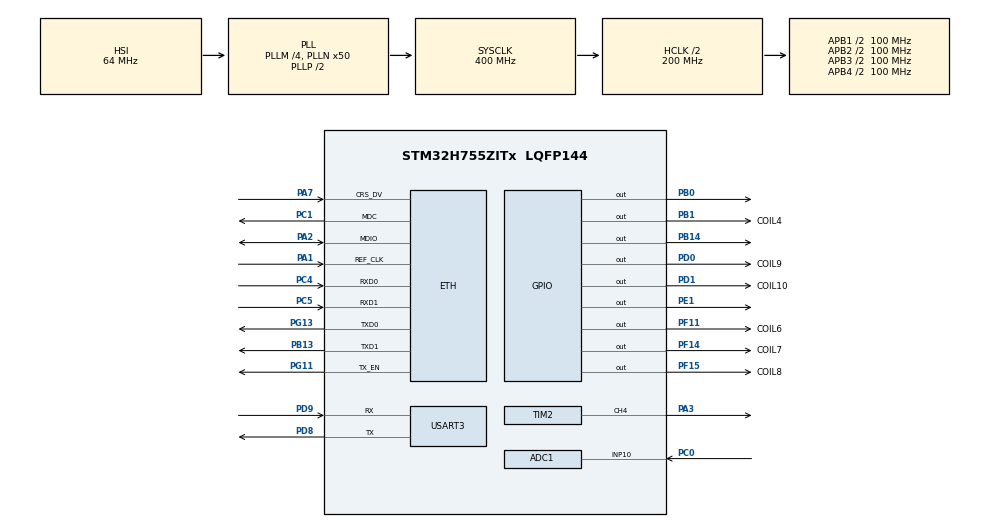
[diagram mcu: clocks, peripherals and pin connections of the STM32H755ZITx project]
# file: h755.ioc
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ADC1.Channel-0\#ChannelRegularConversion=ADC_CHANNEL_10
ADC1.NbrOfConversionFlag=1
ADC1.OffsetNumber-0\#ChannelRegularConversion=ADC_OFFSET_NONE
ADC1.OffsetSignedSaturation-0\#ChannelRegularConversion=DISABLE
ADC1.Rank-0\#ChannelRegularConversion=1
ADC1.SamplingTime-0\#ChannelRegularConversion=ADC_SAMPLETIME_810CYCLES_5
ADC1.master=1
CortexM4.IPs=BDMA,CORTEX_M4\:I,DEBUG,DMA,FATFS_M4\:I,FREERTOS_M4\:I,GPIO,IWDG2\:I,MDMA,NVIC2\:I,OPENAMP_M4\:I,PDM2PCM_M4\:I,PWR,RCC,RESMGR_UTILITY,SYS_M4\:I,USB_DEVICE_M4\:I,USB_HOST_M4\:I,VREFBUF,WWDG2\:I
CortexM7.IPs=BDMA\:I,CORTEX_M7\:I,DEBUG\:I,DMA\:I,FATFS_M7\:I,FREERTOS_M7\:I,GPIO\:I,IWDG1\:I,MDMA\:I,NVIC1\:I,OPENAMP_M7\:I,PDM2PCM_M7\:I,PWR\:I,RCC\:I,RESMGR_UTILITY\:I,SYS\:I,USB_DEVICE_M7\:I,USB_HOST_M7\:I,VREFBUF\:I,WWDG1\:I,ETH\:I,USART3\:I,RNG\:I,ADC1\:I,TIM2\:I
CortexM7.Pins=PB1,PF11,PF14,PF15,PD0,PD1
ETH.MediaInterface=HAL_ETH_RMII_MODE
Mcu.Family=STM32H7
Mcu.Name=STM32H755ZITx
Mcu.Package=LQFP144
NVIC1.ETH_IRQn=true\:0\:0\:false\:false\:false\:true\:false\:true
NVIC1.PriorityGroup=NVIC_PRIORITYGROUP_4
NVIC2.PriorityGroup=NVIC_PRIORITYGROUP_4
PA1.Mode=RMII
PA1.PinAttribute=CortexM7
PA1.Signal=ETH_REF_CLK
PA2.Mode=RMII
PA2.PinAttribute=CortexM7
PA2.Signal=ETH_MDIO
PA3.PinAttribute=CortexM7
PA3.Signal=S_TIM2_CH4
PA7.Mode=RMII
PA7.PinAttribute=CortexM7
PA7.Signal=ETH_CRS_DV
PB0.PinAttribute=Free
PB0.Signal=GPIO_Output
PB1.GPIO_Label=COIL4
PB1.PinAttribute=CortexM7
PB1.Signal=GPIO_Output
PB13.Mode=RMII
PB13.PinAttribute=CortexM7
PB13.Signal=ETH_TXD1
PB14.PinAttribute=Free
PB14.Signal=GPIO_Output
PC0.PinAttribute=CortexM7
PC0.Signal=ADCx_INP10
PC1.Mode=RMII
PC1.PinAttribute=CortexM7
PC1.Signal=ETH_MDC
PC4.Mode=RMII
PC4.PinAttribute=CortexM7
PC4.Signal=ETH_RXD0
PC5.Mode=RMII
PC5.PinAttribute=CortexM7
PC5.Signal=ETH_RXD1
PD0.GPIO_Label=COIL9
PD0.PinAttribute=CortexM7
PD0.Signal=GPIO_Output
PD1.GPIO_Label=COIL10
PD1.PinAttribute=CortexM7
PD1.Signal=GPIO_Output
PD8.Mode=Asynchronous
PD8.PinAttribute=CortexM7
PD8.Signal=USART3_TX
PD9.Mode=Asynchronous
PD9.PinAttribute=CortexM7
PD9.Signal=USART3_RX
PE1.PinAttribute=Free
PE1.Signal=GPIO_Output
PF11.GPIO_Label=COIL6
PF11.PinAttribute=CortexM7
PF11.Signal=GPIO_Output
PF14.GPIO_Label=COIL7
PF14.PinAttribute=CortexM7
PF14.Signal=GPIO_Output
PF15.GPIO_Label=COIL8
PF15.PinAttribute=CortexM7
PF15.Signal=GPIO_Output
PG11.Mode=RMII
PG11.PinAttribute=CortexM7
PG11.Signal=ETH_TX_EN
PG13.Mode=RMII
PG13.PinAttribute=CortexM7
PG13.Signal=ETH_TXD0
ProjectManager.HeapSize=M4-0x200,M7-0x200
ProjectManager.StackSize=M4-0x400,M7-0x400
ProjectManager.TargetToolchain=STM32CubeIDE
RCC.ADCCLockSelection=RCC_ADCCLKSOURCE_CLKP
RCC.ADCFreq_Value=64000000
RCC.APB1Freq_Value=100000000
RCC.APB2Freq_Value=100000000
RCC.APB3Freq_Value=100000000
RCC.APB4Freq_Value=100000000
RCC.CortexFreq_Value=400000000
RCC.D1PPRE=RCC_APB3_DIV2
RCC.D2PPRE1=RCC_APB1_DIV2
RCC.D2PPRE2=RCC_APB2_DIV2
RCC.D3PPRE=RCC_APB4_DIV2
RCC.DIVM1=4
RCC.DIVN1=50
RCC.HCLKFreq_Value=200000000
RCC.HPRE=RCC_HCLK_DIV2
RCC.PLL2FRACN=0
RCC.PLL3FRACN=0
RCC.PLLFRACN=0
RCC.SYSCLKFreq_VALUE=400000000
RCC.SYSCLKSource=RCC_SYSCLKSOURCE_PLLCLK
RCC.USBFreq_Value=400000000
SH.ADCx_INP10.0=ADC1_INP10,IN10-Single-Ended
SH.S_TIM2_CH4.0=TIM2_CH4,PWM Generation4 CH4
SYS.userName=SYS_M7
TIM2.Channel-PWM\ Generation4\ CH4=TIM_CHANNEL_4
TIM2.Period=65535
USART3.VirtualMode-Asynchronous=VM_ASYNC
VP_RNG_VS_RNG.Mode=RNG_Activate
VP_SYS_M4_VS_Systick.Mode=SysTick
board=custom

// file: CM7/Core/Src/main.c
/* USER CODE BEGIN Header */
/**
  ******************************************************************************
  * @file           : main.c
  * @brief          : Main program body
  ******************************************************************************
  * @attention
  *
  * Copyright (c) 2024 STMicroelectronics.
  * All rights reserved.
  *
  * This software is licensed under terms that can be found in the LICENSE file
  * in the root directory of this software component.
  * If no LICENSE file comes with this software, it is provided AS-IS.
  *
  ******************************************************************************
  */
/* USER CODE END Header */
#include "main.h"
#include "string.h"

/* USER CODE BEGIN Includes */
#include "mongoose_glue.h"
/* USER CODE END Includes */

/* USER CODE BEGIN PD */

#ifndef HSEM_ID_0
#define HSEM_ID_0 (0U) /* HW semaphore 0*/
#endif

/* USER CODE END PD */

#if defined ( __ICCARM__ ) /*!< IAR Compiler */
#pragma location=0x30000000
ETH_DMADescTypeDef  DMARxDscrTab[ETH_RX_DESC_CNT]; /* Ethernet Rx DMA Descriptors */
#pragma location=0x30000080
ETH_DMADescTypeDef  DMATxDscrTab[ETH_TX_DESC_CNT]; /* Ethernet Tx DMA Descriptors */

#elif defined ( __CC_ARM )  /* MDK ARM Compiler */

__attribute__((at(0x30000000))) ETH_DMADescTypeDef  DMARxDscrTab[ETH_RX_DESC_CNT]; /* Ethernet Rx DMA Descriptors */
__attribute__((at(0x30000080))) ETH_DMADescTypeDef  DMATxDscrTab[ETH_TX_DESC_CNT]; /* Ethernet Tx DMA Descriptors */

#elif defined ( __GNUC__ ) /* GNU Compiler */

ETH_DMADescTypeDef DMARxDscrTab[ETH_RX_DESC_CNT] __attribute__((section(".RxDescripSection"))); /* Ethernet Rx DMA Descriptors */
ETH_DMADescTypeDef DMATxDscrTab[ETH_TX_DESC_CNT] __attribute__((section(".TxDescripSection")));   /* Ethernet Tx DMA Descriptors */
#endif

ETH_TxPacketConfig TxConfig;

ADC_HandleTypeDef hadc1;

ETH_HandleTypeDef heth;

RNG_HandleTypeDef hrng;

TIM_HandleTypeDef htim2;

UART_HandleTypeDef huart3;

void SystemClock_Config(void);
void PeriphCommonClock_Config(void);
static void MX_GPIO_Init(void);
static void MX_ETH_Init(void);
static void MX_RNG_Init(void);
static void MX_USART3_UART_Init(void);
static void MX_ADC1_Init(void);
static void MX_TIM2_Init(void);

/* USER CODE BEGIN 0 */
bool mg_random(void *buf, size_t len) {  // Use on-board RNG
  for (size_t n = 0; n < len; n += sizeof(uint32_t)) {
    uint32_t r;
    HAL_RNG_GenerateRandomNumber(&hrng, &r);
    memcpy((char *) buf + n, &r, n + sizeof(r) > len ? len - n : sizeof(r));
  }
  return true; // TODO(): ensure successful RNG init, then return on false above
}

uint64_t mg_millis(void) {
  return HAL_GetTick();
}

int _write(int fd, unsigned char *buf, int len) {
  if (fd == 1 || fd == 2) {                     // stdout or stderr ?
    HAL_UART_Transmit(&huart3, buf, len, 999);  // Print to the UART
  }
  return len;
}

/*************** INPUTS *********************/

//typedef struct {
//	GPIO_TypeDef *port;
//	uint16_t pin;
//}input_t;
//
//
//input_t inputs[] ={
//		{INPUT1_GPIO_Port, INPUT1_Pin},
//		{INPUT2_GPIO_Port, INPUT2_Pin},
//		{INPUT3_GPIO_Port, INPUT3_Pin},
//		{INPUT4_GPIO_Port, INPUT4_Pin},
//		{INPUT5_GPIO_Port, INPUT5_Pin},
//		{INPUT6_GPIO_Port, INPUT6_Pin},
//		{INPUT7_GPIO_Port, INPUT7_Pin},
//		{INPUT8_GPIO_Port, INPUT8_Pin},
//		{INPUT9_GPIO_Port, INPUT9_Pin},
//		{INPUT10_GPIO_Port, INPUT10_Pin},
//};
//
//
//bool READ_INPUTS (uint16_t i)
//{
//	return (HAL_GPIO_ReadPin(inputs[i].port, inputs[i].pin));
//}
//
//void my_modbus_handler(struct mg_modbus_req *req) {
//  if (req->func == MG_MODBUS_FUNC_READ_DISCRETE_INPUTS) {
//    for (uint16_t i = 0; i < req->len; i++) {
//      req->u.bits[i] = READ_INPUTS(i);
//    }
//  }
//  else {
//    req->error = MG_MODBUS_ERR_DEVICE_FAILURE;
//  }
//}
//
//
//static struct inputs dis_inputs[] = {
//  {false},{false},{false},{false},{false},{false},{false},{false},{false},{false},
//};
//
//bool my_get_inputs(struct inputs *data, size_t i) {
//  size_t array_size = sizeof(dis_inputs) / sizeof(dis_inputs[0]);
//  if (i >= array_size) return false;
//
//  for (int j =0; j<array_size; j++)
//  {
//	  dis_inputs[j].level = READ_INPUTS(j);
//  }
//  *data = dis_inputs[i];  // Sync with your device
//  return true;
//}

/*************** COILS *********************/

//uint8_t Coils_Data[2] = {0x00, 0x00};
//
//typedef struct {
//	GPIO_TypeDef *port;
//	uint16_t pin;
//}coil_t;
//
//
//coil_t coils[] ={
//		{COIL1_GPIO_Port, COIL1_Pin},
//		{COIL2_GPIO_Port, COIL2_Pin},
//		{COIL3_GPIO_Port, COIL3_Pin},
//		{COIL4_GPIO_Port, COIL4_Pin},
//		{COIL5_GPIO_Port, COIL5_Pin},
//		{COIL6_GPIO_Port, COIL6_Pin},
//		{COIL7_GPIO_Port, COIL7_Pin},
//		{COIL8_GPIO_Port, COIL8_Pin},
//		{COIL9_GPIO_Port, COIL9_Pin},
//		{COIL10_GPIO_Port, COIL10_Pin},
//};
//
//bool READ_COIL (uint16_t i)
//{
//	uint16_t startByte = i/8;
//	uint8_t bitPosition = i%8;
//
//	bool val = (Coils_Data[startByte] >> bitPosition) & 0x01;
//	return val;
//}
//
//void WRITE_COIL (uint16_t i, bool val)
//{
//	uint16_t startByte = i/8;
//	uint8_t bitPosition = i%8;
//
//	if (val == true) Coils_Data[startByte] |= 1<<bitPosition;
//	else Coils_Data[startByte] &= ~(1<<bitPosition);
//
//	HAL_GPIO_WritePin(coils[i].port, coils[i].pin, val);
//}
//
//
//void my_modbus_handler(struct mg_modbus_req *req) {
//
//  if (req->func == MG_MODBUS_FUNC_READ_COILS) {
//    for (uint16_t i = 0; i < req->len; i++) {
//      req->u.bits[i] = READ_COIL(req->addr + i);
//    }
//  }
//
//  else if (req->func == MG_MODBUS_FUNC_WRITE_SINGLE_COIL) {
//        WRITE_COIL(req->addr, req->u.bits[0]);
//  }
//
//  else if (req->func == MG_MODBUS_FUNC_WRITE_MULTIPLE_COILS) {
//    for (uint16_t i = 0; i < req->len; i++) {
//      WRITE_COIL(req->addr + i, req->u.bits[i]);
//    }
//  } else {
//    req->error = MG_MODBUS_ERR_DEVICE_FAILURE;
//  }
//}
//
//
//
//static struct coils my_coils[] = {
//  {false},{false},{false},{false},{false},{false},{false},{false},{false},{false},
//};
//
//bool my_get_coils(struct coils *data, size_t i) {
//  size_t array_size = sizeof(my_coils) / sizeof(my_coils[0]);
//  if (i >= array_size) return false;
//
//  for (int j=0; j<array_size; j++) my_coils[j].level = READ_COIL(j);
//
//
//  *data = my_coils[i];  // Sync with your device
//  return true;
//}
//
//
//void my_set_coils(struct coils *data, size_t i) {
//  size_t array_size = sizeof(my_coils) / sizeof(my_coils[0]);
//  if (i < array_size) my_coils[i] = *data; // Sync with your device
//
//  for (int j=0; j<array_size; j++) WRITE_COIL(j, my_coils[j].level);
//
//}

/*************** HOLDING REGISTERS *********************/

uint16_t Holding_Reg_Data [12] = {0,2222,3333,4444,5555,6666,7777,8888,9999,1234,5678,9012};

uint16_t READ_Holding_REG (uint16_t i)
{
	return (Holding_Reg_Data[i]);
}

void WRITE_Holding_REG (uint16_t i, uint16_t val)
{
	if (i == 0)
	{
		TIM2->CCR4 = val;
	}

	Holding_Reg_Data[i] = val;
}

//void my_modbus_handler(struct mg_modbus_req *req)
//{
//  if (req->func == MG_MODBUS_FUNC_READ_HOLDING_REGISTERS) {
//    for (uint16_t i = 0; i < req->len; i++) {
//      req->u.regs[i] = READ_Holding_REG(req->addr + i);
//    }
//  }
//
//  else if (req->func == MG_MODBUS_FUNC_WRITE_MULTIPLE_REGISTERS) {
//    for (uint16_t i = 0; i < req->len; i++) {
//      WRITE_Holding_REG(req->addr + i, req->u.regs[i]);
//    }
//  }
//
//  else if (req->func == MG_MODBUS_FUNC_WRITE_SINGLE_REGISTER) {
//      WRITE_Holding_REG(req->addr, req->u.regs[0]);
//  }
//
//  else {
//    req->error = MG_MODBUS_ERR_DEVICE_FAILURE;
//  }
//}

static struct holding_registers my_holding_registers[] = {
  {0},{0},{0},{0},{0},{0},{0},{0},{0},{0},{0},{0},
};

bool my_get_holding_registers(struct holding_registers *data, size_t i) {
  size_t array_size = sizeof(my_holding_registers) / sizeof(my_holding_registers[0]);
  if (i >= array_size) return false;
  my_holding_registers[i].value = READ_Holding_REG(i);
  *data = my_holding_registers[i];  // Sync with your device
  return true;
}

void my_set_holding_registers(struct holding_registers *data, size_t i) {
  size_t array_size = sizeof(my_holding_registers) / sizeof(my_holding_registers[0]);
  if (i < array_size) my_holding_registers[i] = *data; // Sync with your device
  WRITE_Holding_REG(i, my_holding_registers[i].value);
}

/*************** INPUT REGISTERS *********************/

uint16_t ReadADC (void)
{
	HAL_ADC_Start(&hadc1);
	HAL_ADC_PollForConversion(&hadc1, 100);
	uint16_t adcVal = HAL_ADC_GetValue(&hadc1);
	HAL_ADC_Stop(&hadc1);
	return adcVal;
}

uint16_t Input_Reg_Data [6] = {0,2222,3333,4444,5555,6666};

uint16_t READ_Input_REG (uint16_t i)
{
	if (i == 0)
	{
		return ReadADC();
	}
	return (Input_Reg_Data[i]);
}

static struct input_registers my_input_registers[] = {
  {0},{0},{0},{0},{0},{0},
};

bool my_get_input_registers(struct input_registers *data, size_t i) {
  size_t array_size = sizeof(my_input_registers) / sizeof(my_input_registers[0]);
  if (i >= array_size) return false;
  my_input_registers[i].value = READ_Input_REG(i);
  *data = my_input_registers[i];  // Sync with your device
  return true;
}

void my_modbus_handler(struct mg_modbus_req *req)
{
  if (req->func == MG_MODBUS_FUNC_READ_HOLDING_REGISTERS) {
    for (uint16_t i = 0; i < req->len; i++) {
      req->u.regs[i] = READ_Holding_REG(req->addr + i);
    }
  }

  else if (req->func == MG_MODBUS_FUNC_WRITE_MULTIPLE_REGISTERS) {
    for (uint16_t i = 0; i < req->len; i++) {
      WRITE_Holding_REG(req->addr + i, req->u.regs[i]);
    }
  }

  else if (req->func == MG_MODBUS_FUNC_WRITE_SINGLE_REGISTER) {
      WRITE_Holding_REG(req->addr, req->u.regs[0]);
  }

  else if (req->func == MG_MODBUS_FUNC_READ_INPUT_REGISTERS) {
	    for (uint16_t i = 0; i < req->len; i++) {
	      req->u.regs[i] = READ_Input_REG(req->addr + i);
	    }
	  }

  else {
    req->error = MG_MODBUS_ERR_DEVICE_FAILURE;
  }
}

/* USER CODE END 0 */

int main(void)
{

/* USER CODE BEGIN Boot_Mode_Sequence_0 */
//  int32_t timeout;
/* USER CODE END Boot_Mode_Sequence_0 */

/* USER CODE BEGIN Boot_Mode_Sequence_1 */
  /* Wait until CPU2 boots and enters in stop mode or timeout*/
//  timeout = 0xFFFF;
//  while((__HAL_RCC_GET_FLAG(RCC_FLAG_D2CKRDY) != RESET) && (timeout-- > 0));
//  if ( timeout < 0 )
//  {
//  Error_Handler();
//  }
/* USER CODE END Boot_Mode_Sequence_1 */
  /* MCU Configuration--------------------------------------------------------*/

  /* Reset of all peripherals, Initializes the Flash interface and the Systick. */
  HAL_Init();

  /* Configure the system clock */
  SystemClock_Config();

  /* Configure the peripherals common clocks */
  PeriphCommonClock_Config();
/* USER CODE BEGIN Boot_Mode_Sequence_2 */
/* When system initialization is finished, Cortex-M7 will release Cortex-M4 by means of
HSEM notification */
/*HW semaphore Clock enable*/
//__HAL_RCC_HSEM_CLK_ENABLE();
///*Take HSEM */
//HAL_HSEM_FastTake(HSEM_ID_0);
///*Release HSEM in order to notify the CPU2(CM4)*/
//HAL_HSEM_Release(HSEM_ID_0,0);
///* wait until CPU2 wakes up from stop mode */
//timeout = 0xFFFF;
//while((__HAL_RCC_GET_FLAG(RCC_FLAG_D2CKRDY) == RESET) && (timeout-- > 0));
//if ( timeout < 0 )
//{
//Error_Handler();
//}
/* USER CODE END Boot_Mode_Sequence_2 */

  /* Initialize all configured peripherals */
  MX_GPIO_Init();
  MX_ETH_Init();
  MX_RNG_Init();
  MX_USART3_UART_Init();
  MX_ADC1_Init();
  MX_TIM2_Init();
  /* USER CODE BEGIN 2 */
  HAL_TIM_PWM_Start(&htim2, TIM_CHANNEL_4);
  mongoose_init();
  mongoose_set_modbus_handler(my_modbus_handler);
  mongoose_set_http_handlers("holding_registers", my_get_holding_registers, my_set_holding_registers);
  mongoose_set_http_handlers("input_registers", my_get_input_registers, NULL);
  mongoose_add_ws_reporter(200, "holding_registers");
  mongoose_add_ws_reporter(200, "input_registers");
  for (;;) {
    mongoose_poll();
  }
  /* USER CODE END 2 */

  /* Infinite loop */
  while (1)
  {

  }
}

void SystemClock_Config(void)
{
  RCC_OscInitTypeDef RCC_OscInitStruct = {0};
  RCC_ClkInitTypeDef RCC_ClkInitStruct = {0};

  /** Supply configuration update enable
  */
  HAL_PWREx_ConfigSupply(PWR_DIRECT_SMPS_SUPPLY);

  /** Configure the main internal regulator output voltage
  */
  __HAL_PWR_VOLTAGESCALING_CONFIG(PWR_REGULATOR_VOLTAGE_SCALE1);

  while(!__HAL_PWR_GET_FLAG(PWR_FLAG_VOSRDY)) {}

  /** Initializes the RCC Oscillators according to the specified parameters
  * in the RCC_OscInitTypeDef structure.
  */
  RCC_OscInitStruct.OscillatorType = RCC_OSCILLATORTYPE_HSI48|RCC_OSCILLATORTYPE_HSI;
  RCC_OscInitStruct.HSIState = RCC_HSI_DIV1;
  RCC_OscInitStruct.HSICalibrationValue = RCC_HSICALIBRATION_DEFAULT;
  RCC_OscInitStruct.HSI48State = RCC_HSI48_ON;
  RCC_OscInitStruct.PLL.PLLState = RCC_PLL_ON;
  RCC_OscInitStruct.PLL.PLLSource = RCC_PLLSOURCE_HSI;
  RCC_OscInitStruct.PLL.PLLM = 4;
  RCC_OscInitStruct.PLL.PLLN = 50;
  RCC_OscInitStruct.PLL.PLLP = 2;
  RCC_OscInitStruct.PLL.PLLQ = 2;
  RCC_OscInitStruct.PLL.PLLR = 2;
  RCC_OscInitStruct.PLL.PLLRGE = RCC_PLL1VCIRANGE_3;
  RCC_OscInitStruct.PLL.PLLVCOSEL = RCC_PLL1VCOWIDE;
  RCC_OscInitStruct.PLL.PLLFRACN = 0;
  if (HAL_RCC_OscConfig(&RCC_OscInitStruct) != HAL_OK)
  {
    Error_Handler();
  }

  /** Initializes the CPU, AHB and APB buses clocks
  */
  RCC_ClkInitStruct.ClockType = RCC_CLOCKTYPE_HCLK|RCC_CLOCKTYPE_SYSCLK
                              |RCC_CLOCKTYPE_PCLK1|RCC_CLOCKTYPE_PCLK2
                              |RCC_CLOCKTYPE_D3PCLK1|RCC_CLOCKTYPE_D1PCLK1;
  RCC_ClkInitStruct.SYSCLKSource = RCC_SYSCLKSOURCE_PLLCLK;
  RCC_ClkInitStruct.SYSCLKDivider = RCC_SYSCLK_DIV1;
  RCC_ClkInitStruct.AHBCLKDivider = RCC_HCLK_DIV2;
  RCC_ClkInitStruct.APB3CLKDivider = RCC_APB3_DIV2;
  RCC_ClkInitStruct.APB1CLKDivider = RCC_APB1_DIV2;
  RCC_ClkInitStruct.APB2CLKDivider = RCC_APB2_DIV2;
  RCC_ClkInitStruct.APB4CLKDivider = RCC_APB4_DIV2;

  if (HAL_RCC_ClockConfig(&RCC_ClkInitStruct, FLASH_LATENCY_2) != HAL_OK)
  {
    Error_Handler();
  }
}

void PeriphCommonClock_Config(void)
{
  RCC_PeriphCLKInitTypeDef PeriphClkInitStruct = {0};

  /** Initializes the peripherals clock
  */
  PeriphClkInitStruct.PeriphClockSelection = RCC_PERIPHCLK_CKPER;
  PeriphClkInitStruct.CkperClockSelection = RCC_CLKPSOURCE_HSI;
  if (HAL_RCCEx_PeriphCLKConfig(&PeriphClkInitStruct) != HAL_OK)
  {
    Error_Handler();
  }
}

static void MX_ADC1_Init(void)
{

  ADC_MultiModeTypeDef multimode = {0};
  ADC_ChannelConfTypeDef sConfig = {0};

  /** Common config
  */
  hadc1.Instance = ADC1;
  hadc1.Init.ClockPrescaler = ADC_CLOCK_ASYNC_DIV1;
  hadc1.Init.Resolution = ADC_RESOLUTION_16B;
  hadc1.Init.ScanConvMode = ADC_SCAN_DISABLE;
  hadc1.Init.EOCSelection = ADC_EOC_SINGLE_CONV;
  hadc1.Init.LowPowerAutoWait = DISABLE;
  hadc1.Init.ContinuousConvMode = DISABLE;
  hadc1.Init.NbrOfConversion = 1;
  hadc1.Init.DiscontinuousConvMode = DISABLE;
  hadc1.Init.ExternalTrigConv = ADC_SOFTWARE_START;
  hadc1.Init.ExternalTrigConvEdge = ADC_EXTERNALTRIGCONVEDGE_NONE;
  hadc1.Init.ConversionDataManagement = ADC_CONVERSIONDATA_DR;
  hadc1.Init.Overrun = ADC_OVR_DATA_PRESERVED;
  hadc1.Init.LeftBitShift = ADC_LEFTBITSHIFT_NONE;
  hadc1.Init.OversamplingMode = DISABLE;
  hadc1.Init.Oversampling.Ratio = 1;
  if (HAL_ADC_Init(&hadc1) != HAL_OK)
  {
    Error_Handler();
  }

  /** Configure the ADC multi-mode
  */
  multimode.Mode = ADC_MODE_INDEPENDENT;
  if (HAL_ADCEx_MultiModeConfigChannel(&hadc1, &multimode) != HAL_OK)
  {
    Error_Handler();
  }

  /** Configure Regular Channel
  */
  sConfig.Channel = ADC_CHANNEL_10;
  sConfig.Rank = ADC_REGULAR_RANK_1;
  sConfig.SamplingTime = ADC_SAMPLETIME_810CYCLES_5;
  sConfig.SingleDiff = ADC_SINGLE_ENDED;
  sConfig.OffsetNumber = ADC_OFFSET_NONE;
  sConfig.Offset = 0;
  sConfig.OffsetSignedSaturation = DISABLE;
  if (HAL_ADC_ConfigChannel(&hadc1, &sConfig) != HAL_OK)
  {
    Error_Handler();
  }

}

static void MX_ETH_Init(void)
{

   static uint8_t MACAddr[6];

  heth.Instance = ETH;
  MACAddr[0] = 0x00;
  MACAddr[1] = 0x80;
  MACAddr[2] = 0xE1;
  MACAddr[3] = 0x00;
  MACAddr[4] = 0x00;
  MACAddr[5] = 0x00;
  heth.Init.MACAddr = &MACAddr[0];
  heth.Init.MediaInterface = HAL_ETH_RMII_MODE;
  heth.Init.TxDesc = DMATxDscrTab;
  heth.Init.RxDesc = DMARxDscrTab;
  heth.Init.RxBuffLen = 1536;

  if (HAL_ETH_Init(&heth) != HAL_OK)
  {
    Error_Handler();
  }

  memset(&TxConfig, 0 , sizeof(ETH_TxPacketConfig));
  TxConfig.Attributes = ETH_TX_PACKETS_FEATURES_CSUM | ETH_TX_PACKETS_FEATURES_CRCPAD;
  TxConfig.ChecksumCtrl = ETH_CHECKSUM_IPHDR_PAYLOAD_INSERT_PHDR_CALC;
  TxConfig.CRCPadCtrl = ETH_CRC_PAD_INSERT;

}

static void MX_RNG_Init(void)
{

  hrng.Instance = RNG;
  hrng.Init.ClockErrorDetection = RNG_CED_ENABLE;
  if (HAL_RNG_Init(&hrng) != HAL_OK)
  {
    Error_Handler();
  }

}

static void MX_TIM2_Init(void)
{

  TIM_MasterConfigTypeDef sMasterConfig = {0};
  TIM_OC_InitTypeDef sConfigOC = {0};

  htim2.Instance = TIM2;
  htim2.Init.Prescaler = 0;
  htim2.Init.CounterMode = TIM_COUNTERMODE_UP;
  htim2.Init.Period = 65535;
  htim2.Init.ClockDivision = TIM_CLOCKDIVISION_DIV1;
  htim2.Init.AutoReloadPreload = TIM_AUTORELOAD_PRELOAD_DISABLE;
  if (HAL_TIM_PWM_Init(&htim2) != HAL_OK)
  {
    Error_Handler();
  }
  sMasterConfig.MasterOutputTrigger = TIM_TRGO_RESET;
  sMasterConfig.MasterSlaveMode = TIM_MASTERSLAVEMODE_DISABLE;
  if (HAL_TIMEx_MasterConfigSynchronization(&htim2, &sMasterConfig) != HAL_OK)
  {
    Error_Handler();
  }
  sConfigOC.OCMode = TIM_OCMODE_PWM1;
  sConfigOC.Pulse = 0;
  sConfigOC.OCPolarity = TIM_OCPOLARITY_HIGH;
  sConfigOC.OCFastMode = TIM_OCFAST_DISABLE;
  if (HAL_TIM_PWM_ConfigChannel(&htim2, &sConfigOC, TIM_CHANNEL_4) != HAL_OK)
  {
    Error_Handler();
  }
  HAL_TIM_MspPostInit(&htim2);

}

static void MX_USART3_UART_Init(void)
{

  huart3.Instance = USART3;
  huart3.Init.BaudRate = 115200;
  huart3.Init.WordLength = UART_WORDLENGTH_8B;
  huart3.Init.StopBits = UART_STOPBITS_1;
  huart3.Init.Parity = UART_PARITY_NONE;
  huart3.Init.Mode = UART_MODE_TX_RX;
  huart3.Init.HwFlowCtl = UART_HWCONTROL_NONE;
  huart3.Init.OverSampling = UART_OVERSAMPLING_16;
  huart3.Init.OneBitSampling = UART_ONE_BIT_SAMPLE_DISABLE;
  huart3.Init.ClockPrescaler = UART_PRESCALER_DIV1;
  huart3.AdvancedInit.AdvFeatureInit = UART_ADVFEATURE_NO_INIT;
  if (HAL_UART_Init(&huart3) != HAL_OK)
  {
    Error_Handler();
  }
  if (HAL_UARTEx_SetTxFifoThreshold(&huart3, UART_TXFIFO_THRESHOLD_1_8) != HAL_OK)
  {
    Error_Handler();
  }
  if (HAL_UARTEx_SetRxFifoThreshold(&huart3, UART_RXFIFO_THRESHOLD_1_8) != HAL_OK)
  {
    Error_Handler();
  }
  if (HAL_UARTEx_DisableFifoMode(&huart3) != HAL_OK)
  {
    Error_Handler();
  }

}

static void MX_GPIO_Init(void)
{
  GPIO_InitTypeDef GPIO_InitStruct = {0};

  /* GPIO Ports Clock Enable */
  __HAL_RCC_GPIOC_CLK_ENABLE();
  __HAL_RCC_GPIOA_CLK_ENABLE();
  __HAL_RCC_GPIOB_CLK_ENABLE();
  __HAL_RCC_GPIOF_CLK_ENABLE();
  __HAL_RCC_GPIOD_CLK_ENABLE();
  __HAL_RCC_GPIOG_CLK_ENABLE();

  /*Configure GPIO pin Output Level */
  HAL_GPIO_WritePin(COIL4_GPIO_Port, COIL4_Pin, GPIO_PIN_RESET);

  /*Configure GPIO pin Output Level */
  HAL_GPIO_WritePin(GPIOF, COIL6_Pin|COIL7_Pin|COIL8_Pin, GPIO_PIN_RESET);

  /*Configure GPIO pin Output Level */
  HAL_GPIO_WritePin(GPIOD, COIL9_Pin|COIL10_Pin, GPIO_PIN_RESET);

  /*Configure GPIO pin : COIL4_Pin */
  GPIO_InitStruct.Pin = COIL4_Pin;
  GPIO_InitStruct.Mode = GPIO_MODE_OUTPUT_PP;
  GPIO_InitStruct.Pull = GPIO_NOPULL;
  GPIO_InitStruct.Speed = GPIO_SPEED_FREQ_LOW;
  HAL_GPIO_Init(COIL4_GPIO_Port, &GPIO_InitStruct);

  /*Configure GPIO pins : COIL6_Pin COIL7_Pin COIL8_Pin */
  GPIO_InitStruct.Pin = COIL6_Pin|COIL7_Pin|COIL8_Pin;
  GPIO_InitStruct.Mode = GPIO_MODE_OUTPUT_PP;
  GPIO_InitStruct.Pull = GPIO_NOPULL;
  GPIO_InitStruct.Speed = GPIO_SPEED_FREQ_LOW;
  HAL_GPIO_Init(GPIOF, &GPIO_InitStruct);

  /*Configure GPIO pins : COIL9_Pin COIL10_Pin */
  GPIO_InitStruct.Pin = COIL9_Pin|COIL10_Pin;
  GPIO_InitStruct.Mode = GPIO_MODE_OUTPUT_PP;
  GPIO_InitStruct.Pull = GPIO_NOPULL;
  GPIO_InitStruct.Speed = GPIO_SPEED_FREQ_LOW;
  HAL_GPIO_Init(GPIOD, &GPIO_InitStruct);

}

void Error_Handler(void)
{
  __disable_irq();
  while (1)
  {
  }
}
